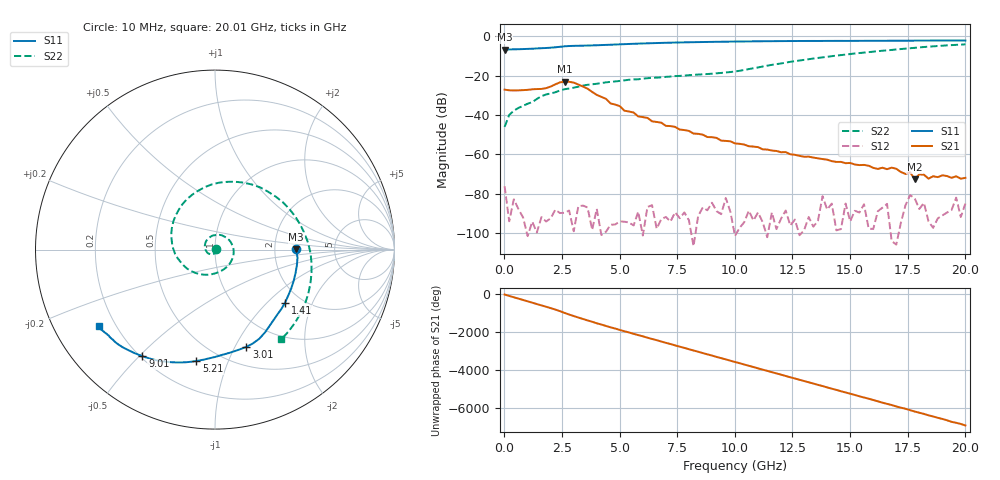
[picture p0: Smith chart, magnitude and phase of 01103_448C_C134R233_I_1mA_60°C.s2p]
!;Filter: kein Filter
!auto
!3/21/2019 9:26:39 AM
!3/21/2019 9:26:51 AM
!SP-Measurements Prober G4
!SP-Measurements Prober G4
!01103_448C
!134
!233
!12
!60
!-20
!0.00099996
!1.65
!0.05816927
!0.05816927
# Hz S  RI  R 50
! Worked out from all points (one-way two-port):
!   101 points, 10 MHz to 20.01 GHz, reference 50 ohm
!   highest |S21| = -23.09 dB at 2.61 GHz (marker M1); lowest = -72.6 dB at 17.81 GHz (marker M2)
!   lowest |S11| = -6.9 dB at 10 MHz (marker M3), VSWR 2.65, Z = 133 + j0.881 ohm
!   |S11| at or under -10 dB: nowhere
!   |S22| runs from -46.0 to -4.1 dB; largest |S21 - S12| = 0.07
!   S11 on the Smith chart (normalised r, x): 10 MHz: 2.65, +0.02; 1.41 GHz: 1.65, -1.29; 3.01 GHz: 0.69, -1.11; 5.21 GHz: 0.38, -0.77; 9.01 GHz: 0.21, -0.51; 20.01 GHz: 0.14, -0.30
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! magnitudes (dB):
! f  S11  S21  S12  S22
! 10 MHz  -6.9  -27.1  -76.2  -46.0
! 210 MHz  -6.7  -27.5  -94.0  -40.0
! 410 MHz  -6.7  -27.5  -82.8  -37.8
! 1.41 GHz  -6.2  -26.8  -99.7  -31.9
! 2.61 GHz  -5.1  -23.1  -89.7  -26.9
! 3.01 GHz  -4.9  -23.6  -99.1  -26.1
! 3.41 GHz  -4.8  -25.6  -86.0  -25.1
! 5.01 GHz  -4.1  -35.5  -94.0  -22.7
! 5.21 GHz  -4.0  -37.8  -94.2  -22.4
! 6.81 GHz  -3.4  -43.9  -92.9  -20.9
! 9.01 GHz  -2.9  -51.3  -84.6  -19.0
! 10.01 GHz  -2.7  -54.5  -101.4  -17.9
! 13.41 GHz  -2.4  -61.6  -96.7  -11.3
! 16.21 GHz  -2.3  -67.4  -88.9  -7.6
! 16.81 GHz  -2.3  -66.8  -104.0  -7.0
! 17.41 GHz  -2.3  -70.0  -85.8  -6.3
! 17.61 GHz  -2.3  -69.1  -80.7  -6.1
! 17.81 GHz  -2.2  -72.6  -82.3  -5.9
! 18.01 GHz  -2.2  -70.1  -87.7  -5.7
! 18.41 GHz  -2.2  -72.3  -94.1  -5.3
! 19.01 GHz  -2.2  -70.6  -91.0  -4.8
! 20.01 GHz  -2.2  -71.9  -85.0  -4.1
